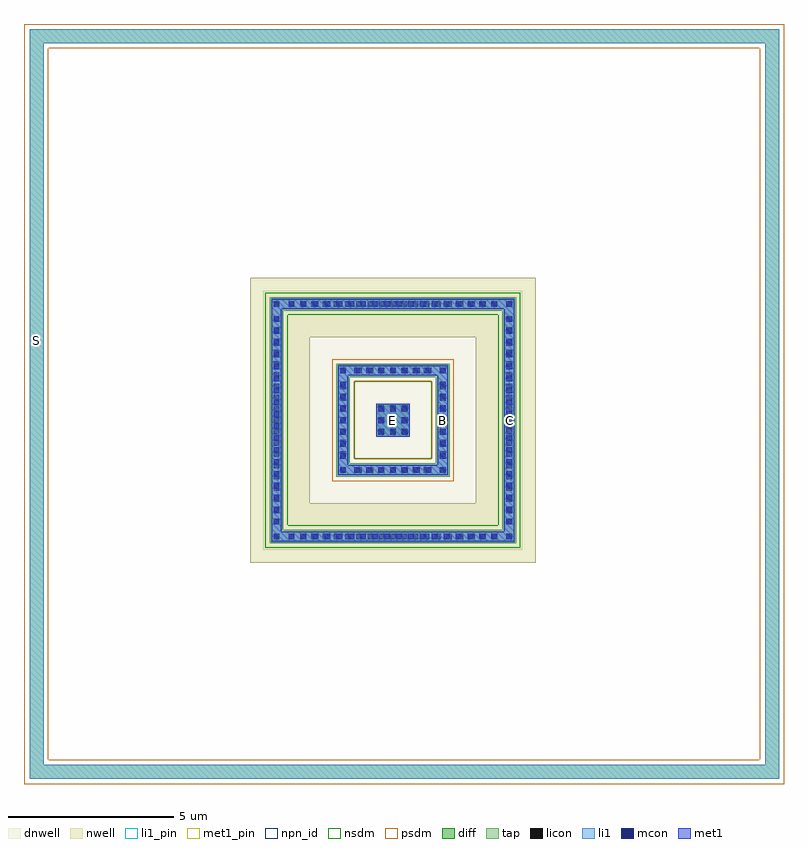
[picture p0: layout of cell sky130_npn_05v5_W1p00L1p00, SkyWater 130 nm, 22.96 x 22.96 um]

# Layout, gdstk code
import gdstk
lib = gdstk.Library(unit=1e-6, precision=1e-09)
def R(c, l, rs):  # rectangles x0, y0, x1, y1
    for r in rs: c.add(gdstk.rectangle(r[:2], r[2:], *l))
def A(c, l, x, y, w, h, nx, ny, dx, dy):  # array of equal rectangles
    R(c, l, [(x+i*dx, y+j*dy, x+i*dx+w, y+j*dy+h) for i in range(nx) for j in range(ny)])
def P(c, l, *ps):  # polygons
    for p in ps: c.add(gdstk.Polygon(p, *l))
dnwell = (64, 18)
nwell = (64, 20)
diff = (65, 20)
tap = (65, 44)
licon = (66, 44)
li1_pin = (67, 16)
li1 = (67, 20)
mcon = (67, 44)
met1_pin = (68, 16)
met1 = (68, 20)
npn_id = (82, 20)
nsdm = (93, 44)
psdm = (94, 20)

sky130_npn_05v5_w1p00l1p = lib.new_cell('sky130_npn_05v5_W1p00L1p00')
R(sky130_npn_05v5_w1p00l1p, dnwell, [(0.4,0.4,8.22,8.22)])
R(sky130_npn_05v5_w1p00l1p, nwell, [(0.865,0.41,7.755,1.18), (0.41,0.865,1.18,7.755), (7.44,0.865,8.21,7.755), (0.865,7.44,7.755,8.21)])
R(sky130_npn_05v5_w1p00l1p, diff, [(3.81,3.81,4.81,4.81), (3.825,3.825,4.795,4.795)])
P(sky130_npn_05v5_w1p00l1p, tap, [(2.6,2.6),(2.6,5.61),(3.01,5.61),(3.01,3.01),(5.61,3.01),(5.61,5.61),(2.6,5.61),(2.6,6.02),(6.02,6.02),(6.02,2.6)],
  [(0.59,0.59),(0.59,7.62),(1,7.62),(1,1),(7.62,1),(7.62,7.62),(0.59,7.62),(0.59,8.03),(8.03,8.03),(8.03,0.59)],
  [(-6.665,-6.515),(-6.665,15.705),(-6.245,15.705),(-6.245,-6.095),(15.555,-6.095),(15.555,15.705),(-6.665,15.705),(-6.665,16.125),(15.975,16.125),(15.975,-6.515)])
A(sky130_npn_05v5_w1p00l1p, licon, 1.165, 0.71, 0.17, 0.17, 19, 2, 0.34, 7.03)
A(sky130_npn_05v5_w1p00l1p, licon, 0.71, 1.165, 0.17, 0.17, 1, 19, 0, 0.34)
A(sky130_npn_05v5_w1p00l1p, licon, 7.74, 1.165, 0.17, 0.17, 1, 19, 0, 0.34)
A(sky130_npn_05v5_w1p00l1p, licon, 3.205, 2.72, 0.17, 0.17, 7, 2, 0.34, 3.01)
A(sky130_npn_05v5_w1p00l1p, licon, 2.72, 3.205, 0.17, 0.17, 1, 7, 0, 0.34)
A(sky130_npn_05v5_w1p00l1p, licon, 5.73, 3.205, 0.17, 0.17, 1, 7, 0, 0.34)
A(sky130_npn_05v5_w1p00l1p, licon, 3.885, 3.885, 0.17, 0.17, 3, 3, 0.34, 0.34)
R(sky130_npn_05v5_w1p00l1p, licon, [(0.71,0.71,0.88,0.88), (7.74,0.71,7.91,0.88), (2.72,2.72,2.89,2.89), (5.73,2.72,5.9,2.89), (2.72,5.73,2.89,5.9), (5.73,5.73,5.9,5.9), (-6.535,6.665,-6.365,6.835), (0.71,7.74,0.88,7.91), (7.74,7.74,7.91,7.91)])
R(sky130_npn_05v5_w1p00l1p, li1_pin, [(-6.552,6.643,-6.382,6.813)])
R(sky130_npn_05v5_w1p00l1p, li1, [(3.805,3.805,4.815,4.815)])
P(sky130_npn_05v5_w1p00l1p, li1, [(2.64,2.64),(2.64,5.65),(2.97,5.65),(2.97,2.97),(5.65,2.97),(5.65,5.65),(2.64,5.65),(2.64,5.98),(5.98,5.98),(5.98,2.64)],
  [(0.63,0.63),(0.63,7.66),(0.96,7.66),(0.96,0.96),(7.66,0.96),(7.66,7.66),(0.63,7.66),(0.63,7.99),(7.99,7.99),(7.99,0.63)],
  [(-6.665,-6.515),(-6.665,15.705),(-6.245,15.705),(-6.245,-6.095),(15.555,-6.095),(15.555,15.705),(-6.665,15.705),(-6.665,16.125),(15.975,16.125),(15.975,-6.515)])
A(sky130_npn_05v5_w1p00l1p, mcon, 1.165, 0.71, 0.17, 0.17, 18, 2, 0.36, 7.03)
A(sky130_npn_05v5_w1p00l1p, mcon, 0.71, 1.165, 0.17, 0.17, 1, 18, 0, 0.36)
A(sky130_npn_05v5_w1p00l1p, mcon, 7.74, 1.165, 0.17, 0.17, 1, 18, 0, 0.36)
A(sky130_npn_05v5_w1p00l1p, mcon, 3.145, 2.72, 0.17, 0.17, 7, 2, 0.36, 3.01)
A(sky130_npn_05v5_w1p00l1p, mcon, 2.72, 3.145, 0.17, 0.17, 1, 7, 0, 0.36)
A(sky130_npn_05v5_w1p00l1p, mcon, 5.73, 3.145, 0.17, 0.17, 1, 7, 0, 0.36)
A(sky130_npn_05v5_w1p00l1p, mcon, 3.865, 3.865, 0.17, 0.17, 3, 3, 0.36, 0.36)
R(sky130_npn_05v5_w1p00l1p, mcon, [(0.71,0.71,0.88,0.88), (7.74,0.71,7.91,0.88), (2.72,2.72,2.89,2.89), (5.73,2.72,5.9,2.89), (2.72,5.73,2.89,5.9), (5.73,5.73,5.9,5.9), (0.71,7.74,0.88,7.91), (7.74,7.74,7.91,7.91)])
R(sky130_npn_05v5_w1p00l1p, met1_pin, [(4.225,4.225,4.395,4.395), (5.73,4.225,5.9,4.395), (7.74,4.225,7.91,4.395)])
R(sky130_npn_05v5_w1p00l1p, met1, [(1.105,0.65,7.515,0.94), (0.65,1.105,0.94,7.515), (7.68,1.105,7.97,7.515), (3.085,2.66,5.535,2.95), (2.66,3.085,2.95,5.535), (5.67,3.085,5.96,5.535), (3.805,3.805,4.815,4.815), (3.085,5.67,5.535,5.96), (1.105,7.68,7.515,7.97)])
P(sky130_npn_05v5_w1p00l1p, met1, [(0.65,7.515),(0.65,7.97),(1.105,7.97),(1.105,7.68),(0.94,7.68),(0.94,7.515)],
  [(0.65,0.65),(0.65,1.105),(0.94,1.105),(0.94,0.94),(1.105,0.94),(1.105,0.65)],
  [(7.515,0.65),(7.515,0.94),(7.68,0.94),(7.68,1.105),(7.97,1.105),(7.97,0.65)],
  [(7.68,7.515),(7.68,7.68),(7.515,7.68),(7.515,7.97),(7.97,7.97),(7.97,7.515)],
  [(5.67,5.535),(5.67,5.67),(5.535,5.67),(5.535,5.96),(5.96,5.96),(5.96,5.535)],
  [(2.66,2.66),(2.66,3.085),(2.95,3.085),(2.95,2.95),(3.085,2.95),(3.085,2.66)],
  [(2.66,5.535),(2.66,5.96),(3.085,5.96),(3.085,5.67),(2.95,5.67),(2.95,5.535)],
  [(5.535,2.66),(5.535,2.95),(5.67,2.95),(5.67,3.085),(5.96,3.085),(5.96,2.66)])
R(sky130_npn_05v5_w1p00l1p, npn_id, [(0.59,0.59,8.03,8.03)])
R(sky130_npn_05v5_w1p00l1p, nsdm, [(0.46,0.46,0.915,0.915), (0.915,0.46,7.705,1.13), (7.705,0.46,8.16,0.915), (0.46,0.915,1.13,7.705), (7.49,0.915,8.16,7.705), (3.14,3.14,5.48,5.48), (3.705,3.685,4.915,4.935), (3.695,3.695,4.925,4.925), (0.915,7.49,7.705,8.16), (0.46,7.705,0.915,8.16), (7.705,7.705,8.16,8.16)])
P(sky130_npn_05v5_w1p00l1p, psdm, [(2.47,2.47),(2.47,5.48),(3.14,5.48),(3.14,3.14),(5.48,3.14),(5.48,5.48),(2.47,5.48),(2.47,6.15),(6.15,6.15),(6.15,2.47)],
  [(-6.835,-6.68),(-6.835,15.54),(-6.095,15.54),(-6.095,-5.94),(15.385,-5.94),(15.385,15.54),(-6.835,15.54),(-6.835,16.28),(16.125,16.28),(16.125,-6.68)])
sky130_npn_05v5_w1p00l1p.add(gdstk.FlexPath([(0.9,1.8),(0.9,7.72),(7.72,7.72),(7.72,0.9),(0,0.9)], 1.8, ends="flush", simple_path=True, layer=64, datatype=20))  # nwell
sky130_npn_05v5_w1p00l1p.add(gdstk.Label('S', (-6.467,6.728), layer=67, texttype=5))
sky130_npn_05v5_w1p00l1p.add(gdstk.Label('E', (4.31,4.31), layer=68, texttype=5))
sky130_npn_05v5_w1p00l1p.add(gdstk.Label('B', (5.815,4.31), layer=68, texttype=5))
sky130_npn_05v5_w1p00l1p.add(gdstk.Label('C', (7.825,4.31), layer=68, texttype=5))

lib.write_gds('sky130_npn_05v5_W1p00L1p00.gds')
